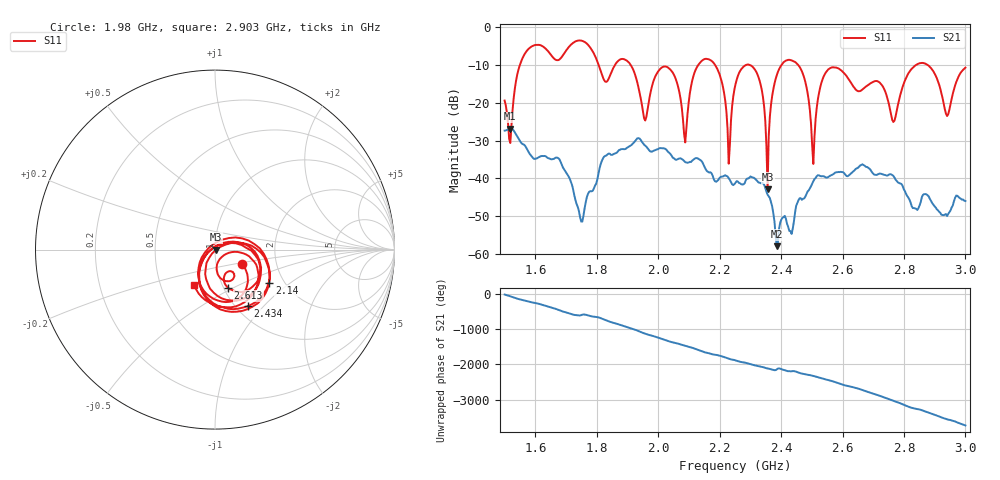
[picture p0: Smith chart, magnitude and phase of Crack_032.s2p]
# HZ S RI R 50
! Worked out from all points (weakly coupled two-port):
!   404 points, 1.5 GHz to 3 GHz, reference 50 ohm
!   highest |S21| = -26.84 dB at 1.519 GHz (marker M1); lowest = -57.9 dB at 2.386 GHz (marker M2)
!   lowest |S11| = -42.9 dB at 2.356 GHz (marker M3), VSWR 1.01, Z = 50.7 + j0.0283 ohm
!   |S11| at or under -10 dB: 1.91 GHz to 2.13 GHz (220 MHz wide, 10.9 % of centre); 2.456 GHz to 2.839 GHz (383.4 MHz wide, 14.5 % of centre); 2.877 GHz to end of sweep (the widest 3 of 7)
!   S12 and S22 are empty: the file has one direction only
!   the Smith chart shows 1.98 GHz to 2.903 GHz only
!   S11 on the Smith chart (normalised r, x): 1.98 GHz: 1.33, -0.21; 2.14 GHz: 1.68, -0.71; 2.434 GHz: 1.13, -0.82; 2.613 GHz: 1.05, -0.47; 2.903 GHz: 0.73, -0.30
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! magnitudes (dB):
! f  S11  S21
! 1.5 GHz  -19.4  -27.3
! 1.519 GHz  -30.6  -26.8
! 1.574 GHz  -6.0  -32.4
! 1.753 GHz  -3.6  -51.4
! 1.828 GHz  -14.4  -34.0
! 1.98 GHz  -15.5  -32.9
! 2.002 GHz  -11.4  -32.1
! 2.088 GHz  -30.5  -35.7
! 2.14 GHz  -9.0  -35.3
! 2.23 GHz  -36.1  -39.9
! 2.252 GHz  -15.0  -41.1
! 2.315 GHz  -11.3  -40.1
! 2.356 GHz  -42.9  -44.3
! 2.386 GHz  -12.7  -57.9
! 2.434 GHz  -8.8  -54.7
! 2.501 GHz  -31.3  -41.4
! 2.546 GHz  -11.9  -39.7
! 2.613 GHz  -12.9  -39.4
! 2.751 GHz  -20.2  -39.0
! 2.903 GHz  -12.8  -47.7
! 2.94 GHz  -23.5  -49.9
! 3 GHz  -10.7  -46.0
